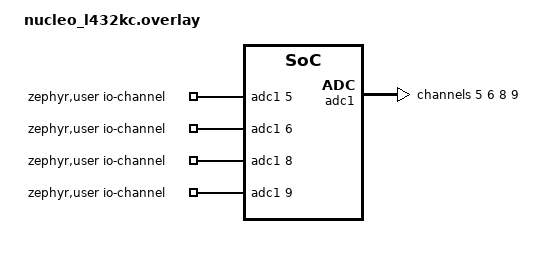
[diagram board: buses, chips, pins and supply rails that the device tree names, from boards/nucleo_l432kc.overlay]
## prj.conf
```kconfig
CONFIG_ADC=y
CONFIG_ADC_STM32=y
```

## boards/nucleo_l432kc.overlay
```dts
/ {
	zephyr,user {
		/* adjust channel number according to pinmux in board.dts */
		io-channels = <&adc1 5>, <&adc1 6>, <&adc1 8>, <&adc1 9>;
	};
};

&adc1 {
    status = "okay";
	#address-cells = <1>;
	#size-cells = <0>;
	st,adc-clock-source = "SYNC";
	st,adc-prescaler = <4>;

	channel@5 {
		reg = <0x05>;
		zephyr,gain = "ADC_GAIN_1";
		zephyr,reference = "ADC_REF_INTERNAL";
		zephyr,acquisition-time = <ADC_ACQ_TIME_DEFAULT>;
		zephyr,resolution = <12>;
	};
    channel@6 {
		reg = <0x06>;
		zephyr,gain = "ADC_GAIN_1";
		zephyr,reference = "ADC_REF_INTERNAL";
		zephyr,acquisition-time = <ADC_ACQ_TIME_DEFAULT>;
		zephyr,resolution = <12>;
	};
    channel@8 {
		reg = <0x08>;
		zephyr,gain = "ADC_GAIN_1";
		zephyr,reference = "ADC_REF_INTERNAL";
		zephyr,acquisition-time = <ADC_ACQ_TIME_DEFAULT>;
		zephyr,resolution = <12>;
	};
    channel@9 {
		reg = <0x09>;
		zephyr,gain = "ADC_GAIN_1";
		zephyr,reference = "ADC_REF_INTERNAL";
		zephyr,acquisition-time = <ADC_ACQ_TIME_DEFAULT>;
		zephyr,resolution = <12>;
	};
};
```

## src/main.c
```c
/*
 * Copyright (c) 2020 Libre Solar Technologies GmbH
 *
 * SPDX-License-Identifier: Apache-2.0
 */

#include <inttypes.h>
#include <stddef.h>
#include <stdint.h>

#include <zephyr/device.h>
#include <zephyr/devicetree.h>
#include <zephyr/drivers/adc.h>
#include <zephyr/kernel.h>
#include <zephyr/sys/printk.h>
#include <zephyr/sys/util.h>
#include <zephyr/drivers/sensor.h>

#if !DT_NODE_EXISTS(DT_PATH(zephyr_user)) || \
	!DT_NODE_HAS_PROP(DT_PATH(zephyr_user), io_channels)
#error "No suitable devicetree overlay specified"
#endif

#define DT_SPEC_AND_COMMA(node_id, prop, idx) \
	ADC_DT_SPEC_GET_BY_IDX(node_id, idx),

/* Data of ADC io-channels specified in devicetree. */
static const struct adc_dt_spec adc_channels[] = {
	DT_FOREACH_PROP_ELEM(DT_PATH(zephyr_user), io_channels,
			     DT_SPEC_AND_COMMA)
};

int main(void) {
	int err;
	uint32_t count = 0;
	uint16_t buf;
	struct adc_sequence sequence = {
		.buffer = &buf,
		/* buffer size in bytes, not number of samples */
		.buffer_size = sizeof(buf),
	};

	/* Configure channels individually prior to sampling. */
	for (size_t i = 0U; i < ARRAY_SIZE(adc_channels); i++) {
		if (!adc_is_ready_dt(&adc_channels[i])) {
			printk("ADC controller device %s not ready\n", adc_channels[i].dev->name);
			return 0;
		}
		err = adc_channel_setup_dt(&adc_channels[i]);
		if (err < 0) {
			printk("Could not setup channel #%d (%d)\n", i, err);
			return 0;
		}
	}

	while (1) {
		printk("ADC reading[%u]:\n", count++);
		for (size_t i = 0U; i < ARRAY_SIZE(adc_channels); i++) {
			int32_t val_mv;

			printk("- %s, channel %d: ",
				adc_channels[i].dev->name,
				adc_channels[i].channel_id);

			(void)adc_sequence_init_dt(&adc_channels[i], &sequence);

			err = adc_read_dt(&adc_channels[i], &sequence);
			if (err < 0) {
				printk("Could not read (%d)\n", err);
				continue;
			}

			/*
				* If using differential mode, the 16 bit value
				* in the ADC sample buffer should be a signed 2's
				* complement value.
				*/
			if (adc_channels[i].channel_cfg.differential) {
				val_mv = (int32_t)((int16_t)buf);
			} else {
				val_mv = (int32_t)buf;
			}
			//printk("%"PRId32, val_mv);
			err = adc_raw_to_millivolts_dt(&adc_channels[i],
								&val_mv);
			/* conversion to mV may not be supported, skip if not */
			if (err < 0) {
				printk(" (value in mV not available)\n");
			} else {
				printk(" %"PRId32" mV\n", val_mv);
			}
		}
		k_sleep(K_MSEC(500));
	}
	return 0;
}
```
